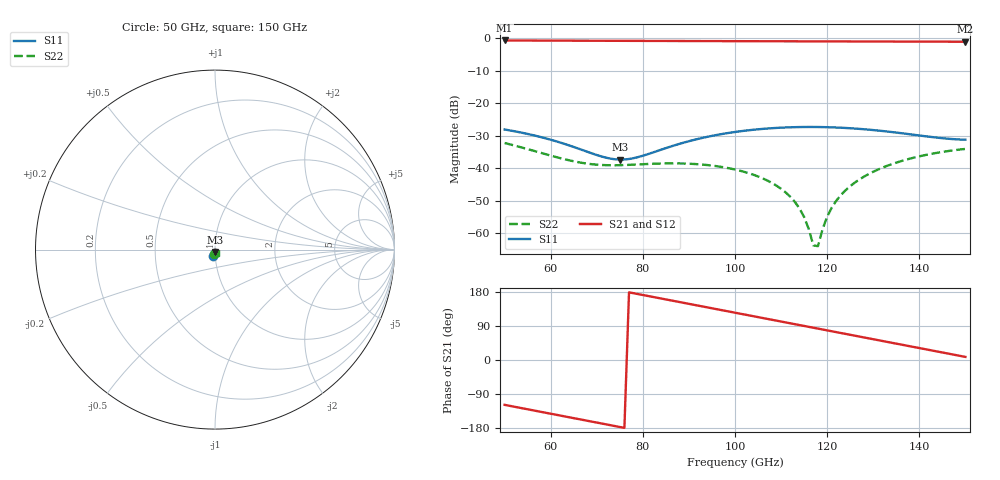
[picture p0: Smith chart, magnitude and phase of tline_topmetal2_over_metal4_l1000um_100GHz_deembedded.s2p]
! Created with skrf 2.0.1 (http://scikit-rf.org).
# GHz S DB R 50.0
!freq dBS11 angS11 dBS21 angS21 dBS12 angS12 dBS22 angS22
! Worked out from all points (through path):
!   101 points, 50 GHz to 150 GHz, reference 50 ohm
!   highest |S21| = -0.69 dB at 50 GHz (marker M1); lowest = -1.1 dB at 150 GHz (marker M2)
!   group delay of S21, straight-line fit = 6.48 ps
!   lowest |S11| = -37.3 dB at 75 GHz (marker M3), VSWR 1.03, Z = 49.9 - j1.36 ohm
!   |S11| at or under -10 dB: start of sweep to end of sweep
!   |S22| runs from -63.9 to -32.2 dB; largest |S21 - S12| = 1e-13
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50  -28.07 -105.1  -0.69 -118.4  -0.69 -118.4  -32.22 -99.8
59  -30.82 -117.7  -0.73 -139.4  -0.73 -139.4  -35.70 -106.8
67  -34.44 -117.8  -0.77 -158.1  -0.77 -158.1  -38.37 -101.5
75  -37.32 -92.1  -0.80 -176.8  -0.80 -176.8  -39.04 -92.5
78  -36.88 -78.7  -0.81 176.2  -0.81 176.2  -38.88 -91.4
84  -34.26 -63.7  -0.84 162.2  -0.84 162.2  -38.53 -94.2
92  -30.96 -63.2  -0.87 143.5  -0.87 143.5  -38.76 -105.1
100  -28.83 -71.1  -0.90 124.8  -0.90 124.8  -40.38 -120.3
107  -27.77 -80.0  -0.93 108.5  -0.93 108.5  -43.75 -134.9
112  -27.39 -86.6  -0.94 96.8  -0.94 96.8  -48.75 -143.4
115  -27.30 -90.5  -0.96 89.8  -0.96 89.8  -54.97 -141.9
116  -27.29 -91.8  -0.96 87.5  -0.96 87.5  -58.64 -134.4
117  -27.29 -93.0  -0.96 85.2  -0.96 85.2  -63.71 -108.2
118  -27.31 -94.3  -0.97 82.8  -0.97 82.8  -63.95 -46.6
119  -27.33 -95.5  -0.97 80.5  -0.97 80.5  -58.75 -18.2
120  -27.36 -96.6  -0.97 78.2  -0.97 78.2  -54.88 -10.3
121  -27.41 -97.8  -0.98 75.8  -0.98 75.8  -52.09 -8.1
123  -27.52 -99.9  -0.98 71.2  -0.98 71.2  -48.20 -8.9
128  -27.99 -104.6  -1.00 59.5  -1.00 59.5  -42.56 -18.7
134  -28.85 -108.0  -1.02 45.5  -1.02 45.5  -38.74 -34.2
142  -30.26 -106.9  -1.05 26.8  -1.05 26.8  -35.72 -56.8
150  -31.21 -97.6  -1.07 8.2  -1.07 8.2  -34.04 -80.8
